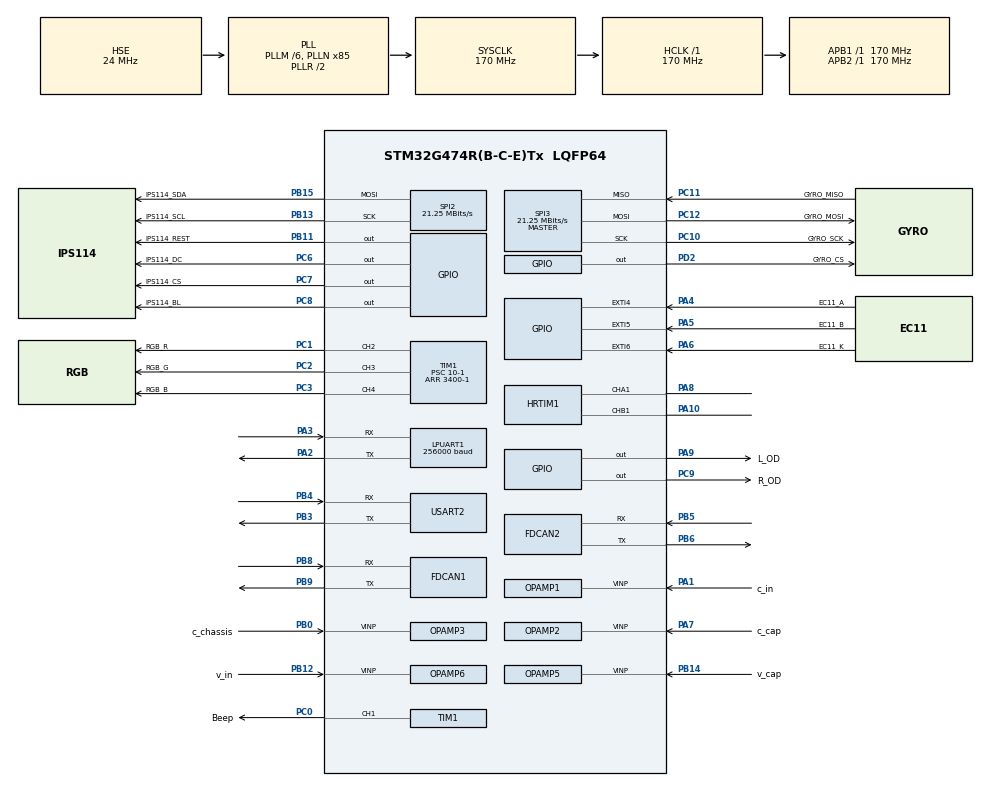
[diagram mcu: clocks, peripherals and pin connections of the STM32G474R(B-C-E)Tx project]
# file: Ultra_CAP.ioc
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ADC1.Channel-3\#ChannelRegularConversion=ADC_CHANNEL_VOPAMP1
ADC1.ContinuousConvMode=DISABLE
ADC1.DMAContinuousRequests=ENABLE
ADC1.EOCSelection=ADC_EOC_SEQ_CONV
ADC1.ExternalTrigConv=ADC_EXTERNALTRIG_HRTIM_TRG3
ADC1.NbrOfConversion=1
ADC1.NbrOfConversionFlag=1
ADC1.OffsetNumber-3\#ChannelRegularConversion=ADC_OFFSET_NONE
ADC1.Overrun=ADC_OVR_DATA_OVERWRITTEN
ADC1.OversamplingMode=DISABLE
ADC1.Rank-3\#ChannelRegularConversion=1
ADC1.SamplingTime-3\#ChannelRegularConversion=ADC_SAMPLETIME_2CYCLES_5
ADC1.master=1
ADC2.Channel-0\#ChannelRegularConversion=ADC_CHANNEL_VOPAMP2
ADC2.ContinuousConvMode=DISABLE
ADC2.DMAContinuousRequests=ENABLE
ADC2.EOCSelection=ADC_EOC_SEQ_CONV
ADC2.ExternalTrigConv=ADC_EXTERNALTRIG_HRTIM_TRG1
ADC2.NbrOfConversion=1
ADC2.NbrOfConversionFlag=1
ADC2.OffsetNumber-0\#ChannelRegularConversion=ADC_OFFSET_NONE
ADC2.Overrun=ADC_OVR_DATA_OVERWRITTEN
ADC2.OversamplingMode=ENABLE
ADC2.Rank-0\#ChannelRegularConversion=1
ADC2.Ratio=ADC_OVERSAMPLING_RATIO_4
ADC2.Resolution=ADC_RESOLUTION_12B
ADC2.RightBitShift=ADC_RIGHTBITSHIFT_2
ADC2.SamplingTime-0\#ChannelRegularConversion=ADC_SAMPLETIME_2CYCLES_5
ADC3.Channel-0\#ChannelRegularConversion=ADC_CHANNEL_VOPAMP3_ADC3
ADC3.ContinuousConvMode=DISABLE
ADC3.DMAContinuousRequests=ENABLE
ADC3.EOCSelection=ADC_EOC_SEQ_CONV
ADC3.ExternalTrigConv=ADC_EXTERNALTRIG_HRTIM_TRG1
ADC3.NbrOfConversionFlag=1
ADC3.OffsetNumber-0\#ChannelRegularConversion=ADC_OFFSET_NONE
ADC3.Overrun=ADC_OVR_DATA_OVERWRITTEN
ADC3.OversamplingMode=ENABLE
ADC3.Rank-0\#ChannelRegularConversion=1
ADC3.Ratio=ADC_OVERSAMPLING_RATIO_4
ADC3.Resolution=ADC_RESOLUTION_12B
ADC3.RightBitShift=ADC_RIGHTBITSHIFT_2
ADC3.SamplingTime-0\#ChannelRegularConversion=ADC_SAMPLETIME_2CYCLES_5
ADC3.master=1
ADC4.Channel-1\#ChannelRegularConversion=ADC_CHANNEL_VOPAMP6
ADC4.ContinuousConvMode=DISABLE
ADC4.DMAContinuousRequests=ENABLE
ADC4.EOCSelection=ADC_EOC_SEQ_CONV
ADC4.ExternalTrigConv=ADC_EXTERNALTRIG_HRTIM_TRG1
ADC4.NbrOfConversionFlag=1
ADC4.OffsetNumber-1\#ChannelRegularConversion=ADC_OFFSET_NONE
ADC4.Overrun=ADC_OVR_DATA_OVERWRITTEN
ADC4.OversamplingMode=ENABLE
ADC4.Rank-1\#ChannelRegularConversion=1
ADC4.Ratio=ADC_OVERSAMPLING_RATIO_32
ADC4.Resolution=ADC_RESOLUTION_12B
ADC4.RightBitShift=ADC_RIGHTBITSHIFT_5
ADC4.SamplingTime-1\#ChannelRegularConversion=ADC_SAMPLETIME_2CYCLES_5
ADC5.Channel-0\#ChannelRegularConversion=ADC_CHANNEL_VOPAMP5
ADC5.ContinuousConvMode=DISABLE
ADC5.DMAContinuousRequests=ENABLE
ADC5.EOCSelection=ADC_EOC_SEQ_CONV
ADC5.ExternalTrigConv=ADC_EXTERNALTRIG_HRTIM_TRG1
ADC5.NbrOfConversion=1
ADC5.NbrOfConversionFlag=1
ADC5.OffsetNumber-0\#ChannelRegularConversion=ADC_OFFSET_NONE
ADC5.Overrun=ADC_OVR_DATA_OVERWRITTEN
ADC5.OversamplingMode=ENABLE
ADC5.Rank-0\#ChannelRegularConversion=1
ADC5.Ratio=ADC_OVERSAMPLING_RATIO_32
ADC5.Resolution=ADC_RESOLUTION_12B
ADC5.RightBitShift=ADC_RIGHTBITSHIFT_5
ADC5.SamplingTime-0\#ChannelRegularConversion=ADC_SAMPLETIME_2CYCLES_5
Dma.ADC1.4.Direction=DMA_PERIPH_TO_MEMORY
Dma.ADC1.4.EventEnable=DISABLE
Dma.ADC1.4.Instance=DMA1_Channel1
Dma.ADC1.4.MemDataAlignment=DMA_MDATAALIGN_WORD
Dma.ADC1.4.MemInc=DMA_MINC_DISABLE
Dma.ADC1.4.Mode=DMA_CIRCULAR
Dma.ADC1.4.PeriphDataAlignment=DMA_PDATAALIGN_WORD
Dma.ADC1.4.PeriphInc=DMA_PINC_DISABLE
Dma.ADC1.4.Polarity=HAL_DMAMUX_REQ_GEN_RISING
Dma.ADC1.4.Priority=DMA_PRIORITY_HIGH
Dma.ADC1.4.RequestNumber=1
Dma.ADC1.4.SignalID=NONE
Dma.ADC1.4.SyncEnable=DISABLE
Dma.ADC1.4.SyncPolarity=HAL_DMAMUX_SYNC_NO_EVENT
Dma.ADC1.4.SyncRequestNumber=1
Dma.ADC1.4.SyncSignalID=NONE
Dma.ADC2.0.Direction=DMA_PERIPH_TO_MEMORY
Dma.ADC2.0.EventEnable=DISABLE
Dma.ADC2.0.Instance=DMA1_Channel2
Dma.ADC2.0.MemDataAlignment=DMA_MDATAALIGN_HALFWORD
Dma.ADC2.0.MemInc=DMA_MINC_DISABLE
Dma.ADC2.0.Mode=DMA_CIRCULAR
Dma.ADC2.0.PeriphDataAlignment=DMA_PDATAALIGN_HALFWORD
Dma.ADC2.0.PeriphInc=DMA_PINC_DISABLE
Dma.ADC2.0.Polarity=HAL_DMAMUX_REQ_GEN_RISING
Dma.ADC2.0.Priority=DMA_PRIORITY_MEDIUM
Dma.ADC2.0.RequestNumber=1
Dma.ADC2.0.SignalID=NONE
Dma.ADC2.0.SyncEnable=DISABLE
Dma.ADC2.0.SyncPolarity=HAL_DMAMUX_SYNC_NO_EVENT
Dma.ADC2.0.SyncRequestNumber=1
Dma.ADC2.0.SyncSignalID=NONE
Dma.ADC3.1.Direction=DMA_PERIPH_TO_MEMORY
Dma.ADC3.1.EventEnable=DISABLE
Dma.ADC3.1.Instance=DMA1_Channel3
Dma.ADC3.1.MemDataAlignment=DMA_MDATAALIGN_HALFWORD
Dma.ADC3.1.MemInc=DMA_MINC_DISABLE
Dma.ADC3.1.Mode=DMA_CIRCULAR
Dma.ADC3.1.PeriphDataAlignment=DMA_PDATAALIGN_HALFWORD
Dma.ADC3.1.PeriphInc=DMA_PINC_DISABLE
Dma.ADC3.1.Polarity=HAL_DMAMUX_REQ_GEN_RISING
Dma.ADC3.1.Priority=DMA_PRIORITY_MEDIUM
Dma.ADC3.1.RequestNumber=1
Dma.ADC3.1.SignalID=NONE
Dma.ADC3.1.SyncEnable=DISABLE
Dma.ADC3.1.SyncPolarity=HAL_DMAMUX_SYNC_NO_EVENT
Dma.ADC3.1.SyncRequestNumber=1
Dma.ADC3.1.SyncSignalID=NONE
Dma.ADC4.2.Direction=DMA_PERIPH_TO_MEMORY
Dma.ADC4.2.EventEnable=DISABLE
Dma.ADC4.2.Instance=DMA1_Channel4
Dma.ADC4.2.MemDataAlignment=DMA_MDATAALIGN_HALFWORD
Dma.ADC4.2.MemInc=DMA_MINC_DISABLE
Dma.ADC4.2.Mode=DMA_CIRCULAR
Dma.ADC4.2.PeriphDataAlignment=DMA_PDATAALIGN_HALFWORD
Dma.ADC4.2.PeriphInc=DMA_PINC_DISABLE
Dma.ADC4.2.Polarity=HAL_DMAMUX_REQ_GEN_RISING
Dma.ADC4.2.Priority=DMA_PRIORITY_MEDIUM
Dma.ADC4.2.RequestNumber=1
Dma.ADC4.2.SignalID=NONE
Dma.ADC4.2.SyncEnable=DISABLE
Dma.ADC4.2.SyncPolarity=HAL_DMAMUX_SYNC_NO_EVENT
Dma.ADC4.2.SyncRequestNumber=1
Dma.ADC4.2.SyncSignalID=NONE
Dma.ADC5.3.Direction=DMA_PERIPH_TO_MEMORY
Dma.ADC5.3.EventEnable=DISABLE
Dma.ADC5.3.Instance=DMA1_Channel5
Dma.ADC5.3.MemDataAlignment=DMA_MDATAALIGN_HALFWORD
Dma.ADC5.3.MemInc=DMA_MINC_DISABLE
Dma.ADC5.3.Mode=DMA_CIRCULAR
Dma.ADC5.3.PeriphDataAlignment=DMA_PDATAALIGN_HALFWORD
Dma.ADC5.3.PeriphInc=DMA_PINC_DISABLE
Dma.ADC5.3.Polarity=HAL_DMAMUX_REQ_GEN_RISING
Dma.ADC5.3.Priority=DMA_PRIORITY_MEDIUM
Dma.ADC5.3.RequestNumber=1
Dma.ADC5.3.SignalID=NONE
Dma.ADC5.3.SyncEnable=DISABLE
Dma.ADC5.3.SyncPolarity=HAL_DMAMUX_SYNC_NO_EVENT
Dma.ADC5.3.SyncRequestNumber=1
Dma.ADC5.3.SyncSignalID=NONE
Dma.FMAC_READ.5.Direction=DMA_PERIPH_TO_MEMORY
Dma.FMAC_READ.5.EventEnable=DISABLE
Dma.FMAC_READ.5.Instance=DMA1_Channel7
Dma.FMAC_READ.5.MemDataAlignment=DMA_MDATAALIGN_HALFWORD
Dma.FMAC_READ.5.MemInc=DMA_MINC_DISABLE
Dma.FMAC_READ.5.Mode=DMA_CIRCULAR
Dma.FMAC_READ.5.PeriphDataAlignment=DMA_PDATAALIGN_WORD
Dma.FMAC_READ.5.PeriphInc=DMA_PINC_DISABLE
Dma.FMAC_READ.5.Polarity=HAL_DMAMUX_REQ_GEN_RISING
Dma.FMAC_READ.5.Priority=DMA_PRIORITY_HIGH
Dma.FMAC_READ.5.RequestNumber=1
Dma.FMAC_READ.5.SignalID=NONE
Dma.FMAC_READ.5.SyncEnable=DISABLE
Dma.FMAC_READ.5.SyncPolarity=HAL_DMAMUX_SYNC_NO_EVENT
Dma.FMAC_READ.5.SyncRequestNumber=1
Dma.FMAC_READ.5.SyncSignalID=NONE
Dma.HRTIM1_M.6.Direction=DMA_MEMORY_TO_PERIPH
Dma.HRTIM1_M.6.EventEnable=DISABLE
Dma.HRTIM1_M.6.Instance=DMA1_Channel6
Dma.HRTIM1_M.6.MemDataAlignment=DMA_MDATAALIGN_HALFWORD
Dma.HRTIM1_M.6.MemInc=DMA_MINC_ENABLE
Dma.HRTIM1_M.6.Mode=DMA_CIRCULAR
Dma.HRTIM1_M.6.PeriphDataAlignment=DMA_PDATAALIGN_HALFWORD
Dma.HRTIM1_M.6.PeriphInc=DMA_PINC_DISABLE
Dma.HRTIM1_M.6.Polarity=HAL_DMAMUX_REQ_GEN_RISING
Dma.HRTIM1_M.6.Priority=DMA_PRIORITY_VERY_HIGH
Dma.HRTIM1_M.6.RequestNumber=1
Dma.HRTIM1_M.6.SignalID=NONE
Dma.HRTIM1_M.6.SyncEnable=DISABLE
Dma.HRTIM1_M.6.SyncPolarity=HAL_DMAMUX_SYNC_NO_EVENT
Dma.HRTIM1_M.6.SyncRequestNumber=1
Dma.HRTIM1_M.6.SyncSignalID=NONE
Dma.Request0=ADC2
Dma.Request1=ADC3
Dma.Request2=ADC4
Dma.Request3=ADC5
Dma.Request4=ADC1
Dma.Request5=FMAC_READ
Dma.Request6=HRTIM1_M
FDCAN1.AutoRetransmission=ENABLE
FDCAN1.CalculateBaudRateNominal=1000000
FDCAN1.CalculateTimeBitNominal=1000
FDCAN1.CalculateTimeQuantumNominal=100.0
FDCAN1.DataPrescaler=17
FDCAN1.DataTimeSeg1=6
FDCAN1.DataTimeSeg2=3
FDCAN1.ExtFiltersNbr=8
FDCAN1.NominalPrescaler=17
FDCAN1.NominalTimeSeg1=6
FDCAN1.NominalTimeSeg2=3
FDCAN1.StdFiltersNbr=28
FDCAN1.TransmitPause=ENABLE
FDCAN2.AutoRetransmission=ENABLE
FDCAN2.CalculateBaudRateNominal=1000000
FDCAN2.CalculateTimeBitNominal=1000
FDCAN2.CalculateTimeQuantumNominal=100.0
FDCAN2.DataPrescaler=17
FDCAN2.DataSyncJumpWidth=1
FDCAN2.DataTimeSeg1=6
FDCAN2.DataTimeSeg2=3
FDCAN2.ExtFiltersNbr=8
FDCAN2.NominalPrescaler=17
FDCAN2.NominalSyncJumpWidth=1
FDCAN2.NominalTimeSeg1=6
FDCAN2.NominalTimeSeg2=3
FDCAN2.StdFiltersNbr=28
FDCAN2.TransmitPause=ENABLE
HRTIM1.ADCTrigger1_Source1=HRTIM_ADCTRIGGEREVENT13_MASTER_CMP2
HRTIM1.ADCTrigger3_Source1=HRTIM_ADCTRIGGEREVENT13_TIMERB_CMP3
HRTIM1.ADCTrigger3_Source2=HRTIM_ADCTRIGGEREVENT13_MASTER_CMP2
HRTIM1.ADCTrigger_Id1=HRTIM_ADCTRIGGER_1
HRTIM1.ADCTrigger_Id3=HRTIM_ADCTRIGGER_3
HRTIM1.BurstDMAconfig-MasterTimer=HRTIM_TIMERINDEX_MASTER
HRTIM1.CompareUnit1-MasterTimer=HRTIM_COMPAREUNIT_1
HRTIM1.CompareUnit2-MasterTimer=HRTIM_COMPAREUNIT_2
HRTIM1.CompareUnit3-MasterTimer=HRTIM_COMPAREUNIT_3
HRTIM1.CompareUnit3-Output_TB1=HRTIM_COMPAREUNIT_3
HRTIM1.CompareUnit4-MasterTimer=HRTIM_COMPAREUNIT_4
HRTIM1.CompareValue1-MasterTimer=0
HRTIM1.CompareValue2-MasterTimer=12920
HRTIM1.CompareValue3-MasterTimer=100
HRTIM1.CompareValue3-Output_TB1=2720
HRTIM1.CompareValue4-MasterTimer=25840
HRTIM1.DMADstAddress-MasterTimer=(uint32_t)&(HRTIM1->sCommonRegs.BDMADR)
HRTIM1.DMARequests1_Master=HRTIM_MASTER_DMA_MCMP4
HRTIM1.DMASize-MasterTimer=4
HRTIM1.DMASrcAddress-MasterTimer=(uint32_t)&HRTIM_DMA_Buffer[0]
HRTIM1.InterruptRequests1_Master=HRTIM_MASTER_IT_MREP
HRTIM1.NumberADCTriggerSource1=1
HRTIM1.NumberADCTriggerSource3=2
HRTIM1.NumberDMARequests_Master=1
HRTIM1.NumberInterruptRequests_Master-MasterTimer=1
HRTIM1.NumberRegisters_BURSTDMAMaster=4
HRTIM1.NumberResetSource1-Output_TA1=1
HRTIM1.NumberResetSource1-Output_TB1=1
HRTIM1.NumberSetSource1-Output_TA1=1
HRTIM1.NumberSetSource1-Output_TB1=1
HRTIM1.Periode_MASTER=HRTIMMaster_Period
HRTIM1.Periode_TA=HRTIMA_Period
HRTIM1.Periode_TB=HRTIMB_Period
HRTIM1.PreloadEnable-MasterTimer=HRTIM_PRELOAD_ENABLED
HRTIM1.RegistersToUpdate_Source1Master=HRTIM_BURSTDMA_CMP1
HRTIM1.RegistersToUpdate_Source2Master=HRTIM_BURSTDMA_CMP2
HRTIM1.RegistersToUpdate_Source3Master=HRTIM_BURSTDMA_CMP3
HRTIM1.RegistersToUpdate_Source4Master=HRTIM_BURSTDMA_CMP4
HRTIM1.RepetitionUpdate-MasterTimer=HRTIM_UPDATEONREPETITION_ENABLED
HRTIM1.ResetOutput1_Source1-Output_TA1=HRTIM_OUTPUTRESET_MASTERCMP4
HRTIM1.ResetOutput1_Source1-Output_TB1=HRTIM_OUTPUTRESET_MASTERCMP1
HRTIM1.SetOutput1_Source1-Output_TA1=HRTIM_OUTPUTSET_MASTERCMP3
HRTIM1.SetOutput1_Source1-Output_TB1=HRTIM_OUTPUTSET_MASTERPER
HRTIM1.SyncOptions=HRTIM_SYNCOPTION_NONE
HRTIM1.UpdateGating-MasterTimer=HRTIM_UPDATEGATING_INDEPENDENT
LPUART1.BaudRate=256000
LPUART1.Parity=UART_PARITY_NONE
Mcu.Family=STM32G4
Mcu.Name=STM32G474R(B-C-E)Tx
Mcu.Package=LQFP64
Mcu.UserConstants=HRTIMB_Period,27200;HRTIMA_Period,27200;HRTIMMaster_Period,27200
NVIC.FDCAN2_IT0_IRQn=true\:3\:0\:true\:false\:true\:true\:true\:true
NVIC.HRTIM1_Master_IRQn=true\:1\:0\:true\:false\:true\:true\:true\:true
NVIC.PriorityGroup=NVIC_PRIORITYGROUP_4
NVIC.TIM2_IRQn=true\:2\:0\:true\:false\:true\:true\:true\:true
OPAMP1.PowerMode=OPAMP_POWERMODE_HIGHSPEED
OPAMP1.SelfCalibration=Enable
OPAMP2.PowerMode=OPAMP_POWERMODE_HIGHSPEED
OPAMP2.SelfCalibration=Enable
OPAMP3.PowerMode=OPAMP_POWERMODE_HIGHSPEED
OPAMP3.SelfCalibration=Enable
OPAMP5.PowerMode=OPAMP_POWERMODE_HIGHSPEED
OPAMP5.SelfCalibration=Enable
OPAMP6.PowerMode=OPAMP_POWERMODE_HIGHSPEED
OPAMP6.SelfCalibration=Enable
PA1.GPIO_Label=c_in
PA1.Signal=SharedAnalog_PA1
PA10.GPIO_Mode=GPIO_MODE_AF_PP
PA10.GPIO_PuPd=GPIO_NOPULL
PA10.GPIO_Speed_High_Default=GPIO_SPEED_FREQ_VERY_HIGH
PA10.Mode=Output_TB1
PA10.Signal=HRTIM1_CHB1
PA11.Signal=USB_DM
PA12.Signal=USB_DP
PA13.Mode=Serial_Wire
PA13.Signal=SYS_JTMS-SWDIO
PA14.Mode=Serial_Wire
PA14.Signal=SYS_JTCK-SWCLK
PA2.GPIO_Speed=GPIO_SPEED_FREQ_MEDIUM
PA2.Mode=Asynchronous
PA2.Signal=LPUART1_TX
PA3.GPIO_Speed=GPIO_SPEED_FREQ_MEDIUM
PA3.Mode=Asynchronous
PA3.Signal=LPUART1_RX
PA4.GPIO_Label=EC11_A
PA4.Signal=GPXTI4
PA5.GPIO_Label=EC11_B
PA5.Signal=GPXTI5
PA6.GPIO_Label=EC11_K
PA6.Signal=GPXTI6
PA7.GPIO_Label=c_cap
PA7.Mode=Follower_Internally_Connected
PA7.Signal=OPAMP2_VINP
PA8.GPIO_Mode=GPIO_MODE_AF_PP
PA8.GPIO_PuPd=GPIO_NOPULL
PA8.GPIO_Speed_High_Default=GPIO_SPEED_FREQ_VERY_HIGH
PA8.Mode=Output_TA1
PA8.Signal=HRTIM1_CHA1
PA9.GPIO_Label=L_OD
PA9.GPIO_PuPd=GPIO_PULLDOWN
PA9.GPIO_Speed=GPIO_SPEED_FREQ_VERY_HIGH
PA9.Signal=GPIO_Output
PB0.GPIO_Label=c_chassis
PB0.Mode=Follower_Internally_Connected
PB0.Signal=OPAMP3_VINP
PB11.GPIO_Label=IPS114_REST
PB11.Signal=GPIO_Output
PB12.GPIO_Label=v_in
PB12.Mode=Follower_Internally_Connected
PB12.Signal=OPAMP6_VINP
PB13.GPIO_Label=IPS114_SCL
PB13.GPIO_Speed=GPIO_SPEED_FREQ_HIGH
PB13.Mode=TX_Only_Simplex_Unidirect_Master
PB13.Signal=SPI2_SCK
PB14.GPIO_Label=v_cap
PB14.Mode=Follower_Internally_Connected
PB14.Signal=OPAMP5_VINP
PB15.GPIO_Label=IPS114_SDA
PB15.GPIO_Speed=GPIO_SPEED_FREQ_HIGH
PB15.Mode=TX_Only_Simplex_Unidirect_Master
PB15.Signal=SPI2_MOSI
PB3.Mode=Asynchronous
PB3.Signal=USART2_TX
PB4.Mode=Asynchronous
PB4.Signal=USART2_RX
PB5.GPIO_Speed=GPIO_SPEED_FREQ_VERY_HIGH
PB5.Mode=FDCAN_Activate
PB5.Signal=FDCAN2_RX
PB6.GPIO_Speed=GPIO_SPEED_FREQ_VERY_HIGH
PB6.Mode=FDCAN_Activate
PB6.Signal=FDCAN2_TX
PB8-BOOT0.GPIO_Speed=GPIO_SPEED_FREQ_VERY_HIGH
PB8-BOOT0.Mode=FDCAN_Activate
PB8-BOOT0.Signal=FDCAN1_RX
PB9.GPIO_Speed=GPIO_SPEED_FREQ_VERY_HIGH
PB9.Mode=FDCAN_Activate
PB9.Signal=FDCAN1_TX
PC0.GPIO_Label=Beep
PC0.Signal=S_TIM1_CH1
PC1.GPIO_Label=RGB_R
PC1.Signal=S_TIM1_CH2
PC10.GPIO_Label=GYRO_SCK
PC10.GPIO_Speed=GPIO_SPEED_FREQ_HIGH
PC10.Mode=Full_Duplex_Master
PC10.Signal=SPI3_SCK
PC11.GPIO_Label=GYRO_MISO
PC11.GPIO_Speed=GPIO_SPEED_FREQ_HIGH
PC11.Mode=Full_Duplex_Master
PC11.Signal=SPI3_MISO
PC12.GPIO_Label=GYRO_MOSI
PC12.GPIO_Speed=GPIO_SPEED_FREQ_HIGH
PC12.Mode=Full_Duplex_Master
PC12.Signal=SPI3_MOSI
PC2.GPIO_Label=RGB_G
PC2.Signal=S_TIM1_CH3
PC3.GPIO_Label=RGB_B
PC3.Signal=S_TIM1_CH4
PC6.GPIO_Label=IPS114_DC
PC6.Signal=GPIO_Output
PC7.GPIO_Label=IPS114_CS
PC7.Signal=GPIO_Output
PC8.GPIO_Label=IPS114_BL
PC8.Signal=GPIO_Output
PC9.GPIO_Label=R_OD
PC9.GPIO_PuPd=GPIO_PULLDOWN
PC9.GPIO_Speed=GPIO_SPEED_FREQ_VERY_HIGH
PC9.Signal=GPIO_Output
PD2.GPIO_Label=GYRO_CS
PD2.Signal=GPIO_Output
PF0-OSC_IN.Mode=HSE-External-Clock-Source
PF0-OSC_IN.Signal=RCC_OSC_IN
ProjectManager.HeapSize=0x200
ProjectManager.StackSize=0x400
ProjectManager.TargetToolchain=MDK-ARM V5.32
RCC.ADC12Freq_Value=170000000
RCC.ADC345Freq_Value=170000000
RCC.AHBFreq_Value=170000000
RCC.APB1Freq_Value=170000000
RCC.APB1TimFreq_Value=170000000
RCC.APB2Freq_Value=170000000
RCC.APB2TimFreq_Value=170000000
RCC.CK48CLockSelection=RCC_USBCLKSOURCE_HSI48
RCC.CortexFreq_Value=170000000
RCC.EXTERNAL_CLOCK_VALUE=12288000
RCC.HCLKFreq_Value=170000000
RCC.HSE_VALUE=24000000
RCC.HSI48_VALUE=48000000
RCC.HSI_VALUE=16000000
RCC.LSE_VALUE=32768
RCC.PLLM=RCC_PLLM_DIV6
RCC.PLLN=85
RCC.PLLSourceVirtual=RCC_PLLSOURCE_HSE
RCC.SYSCLKFreq_VALUE=170000000
RCC.SYSCLKSource=RCC_SYSCLKSOURCE_PLLCLK
RCC.USBFreq_Value=48000000
RCC.VCOOutputFreq_Value=340000000
SH.S_TIM1_CH1.0=TIM1_CH1,PWM Generation1 CH1
SH.S_TIM1_CH2.0=TIM1_CH2,PWM Generation2 CH2
SH.S_TIM1_CH3.0=TIM1_CH3,PWM Generation3 CH3
SH.S_TIM1_CH4.0=TIM1_CH4,PWM Generation4 CH4
SH.SharedAnalog_PA1.0=ADC1_IN2
SH.SharedAnalog_PA1.1=OPAMP1_VINP,Follower_Internally_Connected
SPI2.BaudRatePrescaler=SPI_BAUDRATEPRESCALER_8
SPI2.CalculateBaudRate=21.25 MBits/s
SPI2.DataSize=SPI_DATASIZE_8BIT
SPI2.Direction=SPI_DIRECTION_2LINES
SPI2.Mode=SPI_MODE_MASTER
SPI2.VirtualType=VM_MASTER
SPI3.BaudRatePrescaler=SPI_BAUDRATEPRESCALER_8
SPI3.CalculateBaudRate=21.25 MBits/s
SPI3.DataSize=SPI_DATASIZE_8BIT
SPI3.Direction=SPI_DIRECTION_2LINES
SPI3.Mode=SPI_MODE_MASTER
SPI3.VirtualType=VM_MASTER
TIM1.Channel-PWM\ Generation1\ CH1=TIM_CHANNEL_1
TIM1.Channel-PWM\ Generation2\ CH2=TIM_CHANNEL_2
TIM1.Channel-PWM\ Generation3\ CH3=TIM_CHANNEL_3
TIM1.Channel-PWM\ Generation4\ CH4=TIM_CHANNEL_4
TIM1.PeriodNoDither=3400-1
TIM1.Prescaler=10-1
TIM1.PulseNoDither_1=1000
TIM1.PulseNoDither_2=1000
TIM1.PulseNoDither_3=1000
TIM1.PulseNoDither_4=1000
TIM2.PeriodNoDither=850000-1
TIM2.Prescaler=1-1
USART2.VirtualMode-Asynchronous=VM_ASYNC
VP_ADC1_OPAMP_INTERNAL1.Mode=IN-OPAMP1
VP_ADC2_OPAMP_INTERNAL2.Mode=IN-OPAMP2
VP_ADC3_OPAMP_INTERNAL3.Mode=IN-OPAMP3
VP_ADC4_OPAMP_INTERNAL6.Mode=IN-OPAMP6
VP_ADC5_OPAMP_INTERNAL5.Mode=IN-OPAMP5
VP_FMAC_VS_FMAC.Mode=FMAC_Activate
VP_HRTIM1_VS_hrtimMasterTimerNoOutput.Mode=MasterTimer
VP_SYS_VS_DBSignals.Mode=DisableDeadBatterySignals
VP_TIM1_VS_ClockSourceINT.Mode=Internal
VP_TIM2_VS_ClockSourceINT.Mode=Internal
board=custom

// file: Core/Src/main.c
/* USER CODE BEGIN Header */
/**
 ******************************************************************************
 * @file           : main.c
 * @brief          : Main program body
 ******************************************************************************
 * @attention
 *
 * Copyright (c) 2023 STMicroelectronics.
 * All rights reserved.
 *
 * This software is licensed under terms that can be found in the LICENSE file
 * in the root directory of this software component.
 * If no LICENSE file comes with this software, it is provided AS-IS.
 *
 ******************************************************************************
 */
/* USER CODE END Header */
#include "main.h"
#include "adc.h"
#include "dma.h"
#include "fdcan.h"
#include "fmac.h"
#include "hrtim.h"
#include "usart.h"
#include "opamp.h"
#include "spi.h"
#include "tim.h"
#include "gpio.h"

/* USER CODE BEGIN Includes */
#include "function.h"
#include "power_ctrl.h"
#include "IIR_FIlter.h"
#include "SEEKFREE_IPS114_SPI.h"
#include "CAN_receive.h"
/* USER CODE END Includes */

/* USER CODE BEGIN PV */

/* volatile is below for debug convenience */

/* USER CODE END PV */

void SystemClock_Config(void);
/* USER CODE BEGIN PFP */
#ifdef __GNUC__
/* With GCC, small printf (option LD Linker->Libraries->Small printf
 set to 'Yes') calls __io_putchar() */
#define PUTCHAR_PROTOTYPE int __io_putchar(int ch)
#else
#define PUTCHAR_PROTOTYPE int fputc(int ch, FILE *f)
#endif /* __GNUC__ */
/* USER CODE END PFP */

int main(void)
{

  /* MCU Configuration--------------------------------------------------------*/

  /* Reset of all peripherals, Initializes the Flash interface and the Systick. */
  HAL_Init();

  /* Configure the system clock */
  SystemClock_Config();

  /* Initialize all configured peripherals */
  MX_GPIO_Init();
  MX_DMA_Init();
  MX_FDCAN2_Init();
  MX_LPUART1_UART_Init();
  MX_USART2_UART_Init();
  MX_TIM1_Init();
  MX_ADC1_Init();
  MX_ADC2_Init();
  MX_ADC3_Init();
  MX_OPAMP2_Init();
  MX_OPAMP3_Init();
  MX_ADC4_Init();
  MX_ADC5_Init();
  MX_OPAMP5_Init();
  MX_OPAMP6_Init();
  MX_SPI3_Init();
  MX_SPI2_Init();
  MX_TIM2_Init();
  MX_HRTIM1_Init();
  MX_OPAMP1_Init();
  MX_FMAC_Init();
  MX_FDCAN1_Init();
  /* USER CODE BEGIN 2 */

    /*OD pin down to disable abnormal operations*/
    HAL_GPIO_WritePin(R_OD_GPIO_Port, R_OD_Pin, GPIO_PIN_RESET);
    HAL_GPIO_WritePin(L_OD_GPIO_Port, L_OD_Pin, GPIO_PIN_RESET);

    /*open peripheral driver*/
    OPAMP_Start();
    ADC_Calib_Start();
    TIM1_PWM_Init();
    ips114_init();
    can_filter_init();
    HAL_FMAC_FilterConfig_my();
    power_init();

    /*initial finished*/
    printf("\n\r init complete\n\r");
    htim1.Instance->CCR1 = 0;
    htim1.Instance->CCR2 = 0;
    htim1.Instance->CCR3 = 0;
    htim1.Instance->CCR4 = 0;

    /*open timer interrupt*/
    HAL_TIM_Base_Start_IT(&htim2); //5mS interrupt
    HRTIM_Init();

    /*calibration function, calibration is defined in main.h*/
#if calibration == 1
//    HAL_GPIO_WritePin(L_OD_GPIO_Port, L_OD_Pin, GPIO_PIN_SET);
//    HAL_GPIO_WritePin(R_OD_GPIO_Port, R_OD_Pin, GPIO_PIN_SET);
    HRTIM_DMA_Buffer[0] = (uint16_t)(0.95 * HRTIMB_Period);//BUCK duty
    HRTIM_DMA_Buffer[1] = (uint16_t)(0.95 * HRTIMB_Period) >> 1;//ADC sampling trigger
    HRTIM_DMA_Buffer[2] = MIN_REG_VALUE;//Boost duty
    HRTIM_DMA_Buffer[3] = (uint16_t)(0.96 * HRTIMA_Period);
#endif

  /* USER CODE END 2 */

  /* Infinite loop */
  /* USER CODE BEGIN WHILE */
    while (1)
    {
        printf("power_in=%f\r\n", in.P);
        printf("v_in=%f\r\n", in.V);
        printf("c_in=%f\r\n", in.I);
        printf("v_cap=%f\r\n", cap.V);
        printf("c_cap=%f\r\n", cap.I);
        printf("c_chassis=%f\r\n", c_chassis.value_elec);
//        printf("full_bridge_in=%f\r\n", full_bridge_in.I);
        printf("\r\n");

//        if (IPSShowCnt > 60) //300m flash once ips
//        {
//            IPSShowCnt = 0;
//            ips_usrdisplay();
//        }

        if (CANSendCnt > 19) //100m send once
        {
            CANSendCnt = 0;
            CAN_cmd_powerctrl();
        }
    /* USER CODE END WHILE */

    }
}

void SystemClock_Config(void)
{
  RCC_OscInitTypeDef RCC_OscInitStruct = {0};
  RCC_ClkInitTypeDef RCC_ClkInitStruct = {0};

  /** Configure the main internal regulator output voltage
  */
  HAL_PWREx_ControlVoltageScaling(PWR_REGULATOR_VOLTAGE_SCALE1_BOOST);

  /** Initializes the RCC Oscillators according to the specified parameters
  * in the RCC_OscInitTypeDef structure.
  */
  RCC_OscInitStruct.OscillatorType = RCC_OSCILLATORTYPE_HSE;
  RCC_OscInitStruct.HSEState = RCC_HSE_BYPASS;
  RCC_OscInitStruct.PLL.PLLState = RCC_PLL_ON;
  RCC_OscInitStruct.PLL.PLLSource = RCC_PLLSOURCE_HSE;
  RCC_OscInitStruct.PLL.PLLM = RCC_PLLM_DIV6;
  RCC_OscInitStruct.PLL.PLLN = 85;
  RCC_OscInitStruct.PLL.PLLP = RCC_PLLP_DIV2;
  RCC_OscInitStruct.PLL.PLLQ = RCC_PLLQ_DIV2;
  RCC_OscInitStruct.PLL.PLLR = RCC_PLLR_DIV2;
  if (HAL_RCC_OscConfig(&RCC_OscInitStruct) != HAL_OK)
  {
    Error_Handler();
  }

  /** Initializes the CPU, AHB and APB buses clocks
  */
  RCC_ClkInitStruct.ClockType = RCC_CLOCKTYPE_HCLK|RCC_CLOCKTYPE_SYSCLK
                              |RCC_CLOCKTYPE_PCLK1|RCC_CLOCKTYPE_PCLK2;
  RCC_ClkInitStruct.SYSCLKSource = RCC_SYSCLKSOURCE_PLLCLK;
  RCC_ClkInitStruct.AHBCLKDivider = RCC_SYSCLK_DIV1;
  RCC_ClkInitStruct.APB1CLKDivider = RCC_HCLK_DIV1;
  RCC_ClkInitStruct.APB2CLKDivider = RCC_HCLK_DIV1;

  if (HAL_RCC_ClockConfig(&RCC_ClkInitStruct, FLASH_LATENCY_4) != HAL_OK)
  {
    Error_Handler();
  }
}

/* USER CODE BEGIN 4 */

/**
 * @brief  Retargets the C library printf function to the USART.
 * @param  None
 * @retval None
 */
PUTCHAR_PROTOTYPE
{
    /* Place your implementation of fputc here */
    /* e.g. write a character to the LPUART1 and Loop until the end of transmission */
    HAL_UART_Transmit(&hlpuart1, (uint8_t *) &ch, 1, 0xFFFF);

    return ch;
}

/* USER CODE END 4 */

void Error_Handler(void)
{
  /* USER CODE BEGIN Error_Handler_Debug */
    /* User can add his own implementation to report the HAL error return state */
    __disable_irq();
    while (1)
    {
        /*turn on beep & led max light*/
        htim1.Instance->CCR1 = 3400;
        htim1.Instance->CCR2 = 3400;
        htim1.Instance->CCR3 = 0;
        htim1.Instance->CCR4 = 0;

        /*shut down MOS*/
        HAL_GPIO_WritePin(R_OD_GPIO_Port, R_OD_Pin, GPIO_PIN_RESET);
        HAL_GPIO_WritePin(L_OD_GPIO_Port, L_OD_Pin, GPIO_PIN_RESET);
        HAL_Delay(100);
    }
  /* USER CODE END Error_Handler_Debug */
}
